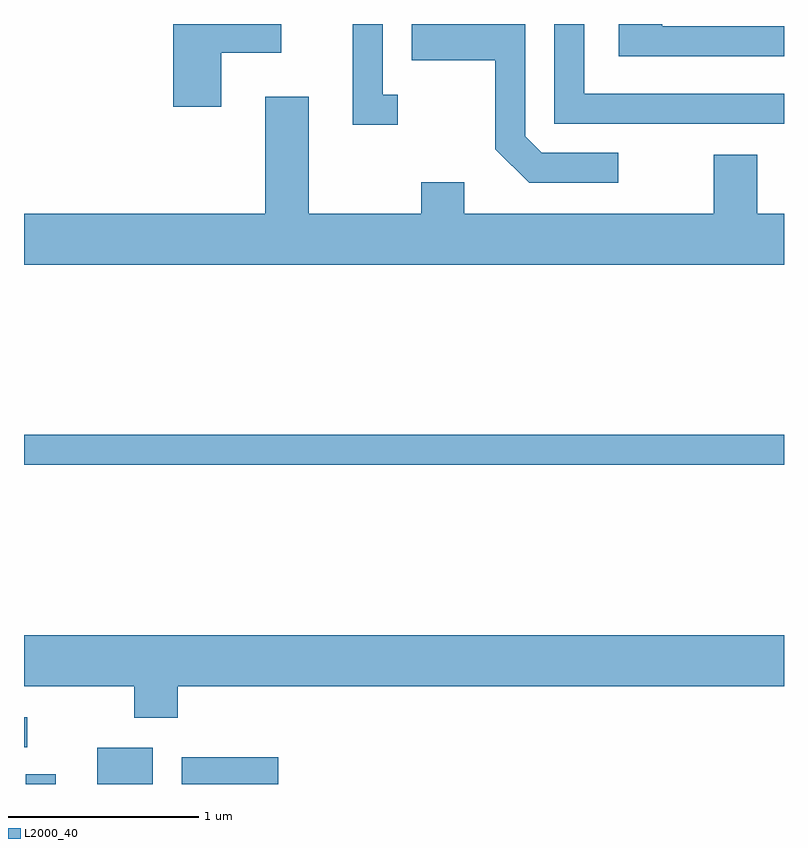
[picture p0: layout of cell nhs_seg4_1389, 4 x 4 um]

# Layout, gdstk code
import gdstk
lib = gdstk.Library(unit=1e-6, precision=1e-09)
def R(c, l, rs):  # rectangles x0, y0, x1, y1
    for r in rs: c.add(gdstk.rectangle(r[:2], r[2:], *l))
def P(c, l, *ps):  # polygons
    for p in ps: c.add(gdstk.Polygon(p, *l))
L2000_40 = (2000, 40)

nhs_seg4_1389 = lib.new_cell('nhs_seg4_1389')
R(nhs_seg4_1389, L2000_40, [(225.621,1311.982,225.779,1312.033), (225.996,1311.982,226.289,1312.174), (226.441,1311.982,226.948,1312.124), (225.611,1312.176,225.628,1312.334), (225.611,1313.661,229.611,1313.819)])
P(nhs_seg4_1389, L2000_40, [(229.611,1315.614),(228.559,1315.614),(228.559,1315.982),(228.401,1315.982),(228.401,1315.456),(229.611,1315.456)],
  [(229.611,1315.969),(228.969,1315.969),(228.969,1315.982),(228.741,1315.982),(228.741,1315.811),(229.611,1315.811)],
  [(226.649,1315.831),(226.964,1315.831),(226.964,1315.982),(226.396,1315.982),(226.396,1315.546),(226.649,1315.546)],
  [(227.578,1315.609),(227.499,1315.609),(227.499,1315.982),(227.341,1315.982),(227.341,1315.451),(227.578,1315.451)],
  [(228.738,1315.304),(228.337,1315.304),(228.249,1315.392),(228.249,1315.982),(227.651,1315.982),(227.651,1315.791),(228.091,1315.791),(228.091,1315.324),(228.269,1315.146),(228.738,1315.146)],
  [(229.611,1314.984),(229.469,1314.984),(229.469,1315.294),(229.241,1315.294),(229.241,1314.984),(227.929,1314.984),(227.929,1315.149),(227.701,1315.149),(227.701,1314.984),(227.109,1314.984),(227.109,1315.599),(226.881,1315.599),(226.881,1314.984),(225.611,1314.984),(225.611,1314.716),(229.611,1314.716)],
  [(226.419,1312.496),(229.611,1312.496),(229.611,1312.764),(225.611,1312.764),(225.611,1312.496),(226.191,1312.496),(226.191,1312.331),(226.419,1312.331)])

lib.write_gds('nhs_seg4_1389.gds')
